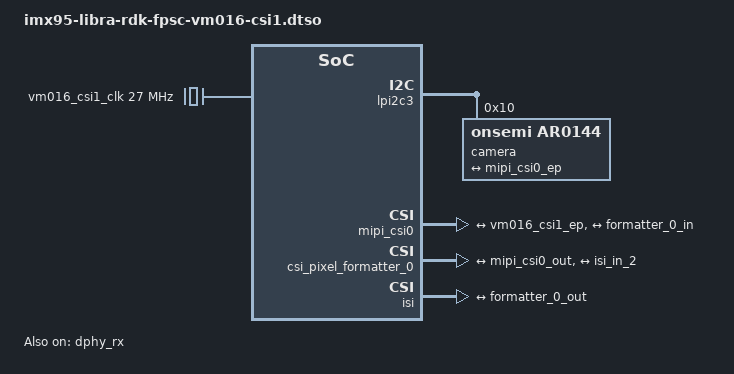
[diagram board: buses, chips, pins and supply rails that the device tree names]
// SPDX-License-Identifier: (GPL-2.0+ OR MIT)
/*
 * Copyright (C) 2025 PHYTEC Messtechnik GmbH
 * Author: Stefan Riedmüller <s.riedmueller@phytec.de>
 */

/dts-v1/;
/plugin/;

&{/} {
	vm016_csi1_clk: vm016-csi1-ext-clk {
		#clock-cells = <0>;
		compatible = "fixed-clock";
		clock-frequency = <27000000>;
	};
};

&lpi2c3 {
	#address-cells = <1>;
	#size-cells = <0>;
	status = "okay";

	camera@10 {
		#address-cells = <0x1>;
		#size-cells = <0x0>;

		compatible = "onsemi,ar0144";
		reg = <0x10>;
		clocks = <&vm016_csi1_clk>;
		clock-names = "ext";
		isp-bus-info = "csi0";

		port@0 {
			reg = <0>;

			vm016_csi1_ep: endpoint {
				remote-endpoint = <&mipi_csi0_ep>;
				bus-type = <4>; /* MIPI CSI-2 D-PHY */
				link-frequencies = /bits/ 64 <222750000>;
				data-lanes = <1 2>;
				clock-lanes = <0>;
				clock-noncontinuous = <1>;
				onsemi,t-hs-prep = <1>;
				onsemi,t-clk-post = <9>;
			};
		};
	};
};

&dphy_rx {
	status = "okay";
};

&mipi_csi0 {
	status = "okay";

	ports {
		#address-cells = <1>;
		#size-cells = <0>;

		port@0 {
			reg = <0>;
			mipi_csi0_ep: endpoint {
				remote-endpoint = <&vm016_csi1_ep>;
				data-lanes = <1 2>;
				clock-lanes = <0>;
			};
		};

		port@1 {
			reg = <1>;
				mipi_csi0_out: endpoint {
				remote-endpoint = <&formatter_0_in>;
			};
		};
	};
};

&csi_pixel_formatter_0 {
	status = "okay";

	ports {
		#address-cells = <1>;
		#size-cells = <0>;

		port@0 {
			reg = <0>;

			formatter_0_in: endpoint {
				remote-endpoint = <&mipi_csi0_out>;
			};
		};

		port@1 {
			reg = <1>;

			formatter_0_out: endpoint {
				remote-endpoint = <&isi_in_2>;
			};
		};
	};
};

&isi {
	dma-coherent;
	status = "okay";

	ports {
		#address-cells = <1>;
		#size-cells = <0>;

		port@2 {
			reg = <2>;

			isi_in_2: endpoint {
				remote-endpoint = <&formatter_0_out>;
			};
		};
	};
};
